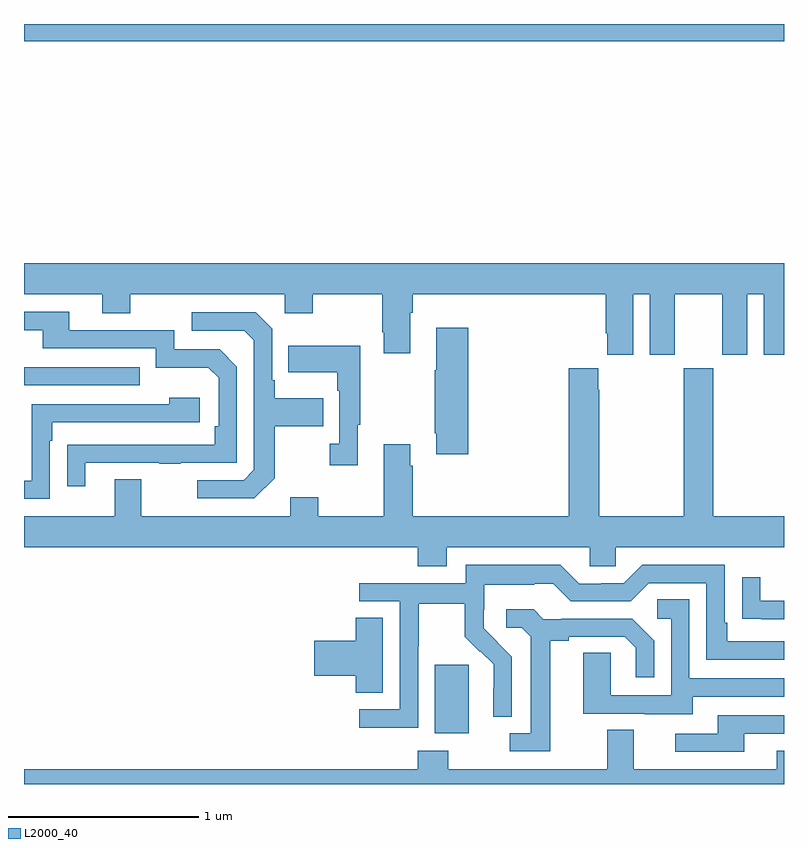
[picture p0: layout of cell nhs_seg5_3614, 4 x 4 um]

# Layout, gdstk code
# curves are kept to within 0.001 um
import gdstk
lib = gdstk.Library(unit=1e-6, precision=1e-09)
def R(c, l, rs):  # rectangles x0, y0, x1, y1
    for r in rs: c.add(gdstk.rectangle(r[:2], r[2:], *l))
def P(c, l, *ps):  # polygons
    for p in ps: c.add(gdstk.Polygon(p, *l))
L2000_40 = (2000, 40)

nhs_seg5_3614 = lib.new_cell('nhs_seg5_3614')
R(nhs_seg5_3614, L2000_40, [(325.163,905.066,325.342,905.427), (323,906.897,323.609,906.993), (323,908.708,327,908.799)])
P(nhs_seg5_3614, L2000_40, [(323,907.376),(323.411,907.376),(323.411,907.277),(323.559,907.277),(323.559,907.376),(324.372,907.376),(324.372,907.277),(324.519,907.277),(324.519,907.376),(324.886,907.376),(324.886,907.177),(324.893,907.177),(324.893,907.065),(325.033,907.065),(325.033,907.28),(325.046,907.28),(325.046,907.376),(326.063,907.376),(326.063,907.171),(326.069,907.171),(326.069,907.059),(326.206,907.059),(326.206,907.376),(326.294,907.376),(326.294,907.059),(326.425,907.059),(326.425,907.376),(326.675,907.376),(326.675,907.059),(326.806,907.059),(326.806,907.376),(326.894,907.376),(326.894,907.059),(327,907.059),(327,907.54),(323,907.54)],
  [(323.323,906.489),(323.713,906.489),(323.713,906.484),(323.825,906.484),(323.825,906.489),(324.12,906.489),(324.12,906.996),(324.03,907.086),(323.79,907.086),(323.79,907.188),(323.239,907.188),(323.239,907.284),(323,907.284),(323,907.188),(323.099,907.188),(323.099,907.092),(323.694,907.092),(323.694,906.989),(323.971,906.989),(324.024,906.936),(324.024,906.682),(324.004,906.682),(324.004,906.585),(323.227,906.584),(323.227,906.366),(323.323,906.366)],
  [(324.319,906.409),(324.319,906.682),(324.575,906.682),(324.575,906.829),(324.319,906.829),(324.319,906.925),(324.306,906.925),(324.306,907.194),(324.219,907.281),(323.883,907.281),(323.883,907.185),(324.159,907.185),(324.21,907.134),(324.21,906.453),(324.156,906.399),(323.913,906.399),(323.913,906.303),(324.213,906.303)],
  [(325.337,907.201),(325.169,907.201),(325.169,906.977),(325.162,906.977),(325.162,906.646),(325.169,906.646),(325.169,906.534),(325.337,906.534)],
  [(324.757,906.689),(324.769,906.689),(324.769,907.105),(324.391,907.105),(324.391,906.965),(324.648,906.965),(324.648,906.869),(324.66,906.869),(324.66,906.59),(324.609,906.59),(324.609,906.477),(324.757,906.477)],
  [(325.225,906.044),(325.977,906.044),(325.977,905.946),(326.115,905.946),(326.115,906.044),(327,906.044),(327,906.208),(326.628,906.208),(326.628,906.988),(326.473,906.988),(326.473,906.208),(326.028,906.208),(326.028,906.875),(326.023,906.875),(326.023,906.988),(325.868,906.988),(325.868,906.208),(325.046,906.208),(325.046,906.473),(325.033,906.473),(325.033,906.586),(324.893,906.586),(324.893,906.208),(324.549,906.208),(324.549,906.307),(324.401,906.307),(324.401,906.208),(323.617,906.208),(323.617,906.403),(323.477,906.403),(323.477,906.208),(323,906.208),(323,906.044),(325.073,906.044),(325.073,905.945),(325.225,905.945)],
  [(323.136,906.605),(323.149,906.605),(323.149,906.702),(323.926,906.702),(323.926,906.832),(323.765,906.832),(323.765,906.798),(323.04,906.798),(323.04,906.396),(323,906.396),(323,906.3),(323.136,906.3)],
  [(325.074,905.524),(325.077,905.524),(325.077,905.748),(325.321,905.748),(325.321,905.573),(325.398,905.496),(325.401,905.499),(325.472,905.429),(325.472,905.306),(325.47,905.306),(325.47,905.152),(325.566,905.152),(325.566,905.47),(325.42,905.618),(325.42,905.715),(325.422,905.715),(325.422,905.849),(325.685,905.849),(325.685,905.853),(325.785,905.853),(325.878,905.76),(326.193,905.76),(326.289,905.856),(326.592,905.856),(326.592,905.454),(327,905.454),(327,905.55),(326.701,905.55),(326.701,905.647),(326.688,905.647),(326.688,905.952),(326.253,905.952),(326.157,905.856),(326.039,905.856),(326.039,905.853),(325.923,905.853),(325.823,905.953),(325.326,905.953),(325.326,905.856),(324.765,905.856),(324.765,905.76),(324.978,905.76),(324.978,905.193),(324.765,905.193),(324.765,905.095),(325.074,905.095)],
  [(327,905.763),(326.875,905.763),(326.875,905.887),(326.779,905.887),(326.779,905.668),(326.881,905.668),(326.881,905.667),(327,905.667)],
  [(326.521,905.259),(327,905.259),(327,905.355),(326.502,905.355),(326.502,905.771),(326.334,905.771),(326.334,905.67),(326.406,905.67),(326.406,905.265),(326.088,905.265),(326.088,905.489),(325.943,905.489),(325.943,905.169),(326.267,905.169),(326.267,905.165),(326.521,905.165)],
  [(325.771,905.552),(325.867,905.552),(325.867,905.574),(326.162,905.574),(326.219,905.517),(326.219,905.361),(326.316,905.361),(326.316,905.554),(326.2,905.67),(325.828,905.67),(325.828,905.667),(325.734,905.667),(325.682,905.719),(325.539,905.719),(325.539,905.622),(325.62,905.622),(325.667,905.575),(325.667,905.067),(325.557,905.067),(325.557,904.971),(325.771,904.971)],
  [(324.889,905.675),(324.746,905.675),(324.746,905.552),(324.528,905.552),(324.528,905.369),(324.746,905.369),(324.746,905.278),(324.889,905.278)],
  [(326.791,905.064),(327,905.064),(327,905.16),(326.651,905.16),(326.651,905.064),(326.427,905.064),(326.427,904.968),(326.791,904.968)],
  [(327,904.975),(326.963,904.975),(326.963,904.876),(326.209,904.876),(326.209,905.084),(326.069,905.084),(326.069,904.876),(325.233,904.876),(325.233,904.975),(325.073,904.975),(325.073,904.876),(323,904.876),(323,904.799),(327,904.799)])

lib.write_gds('nhs_seg5_3614.gds')
